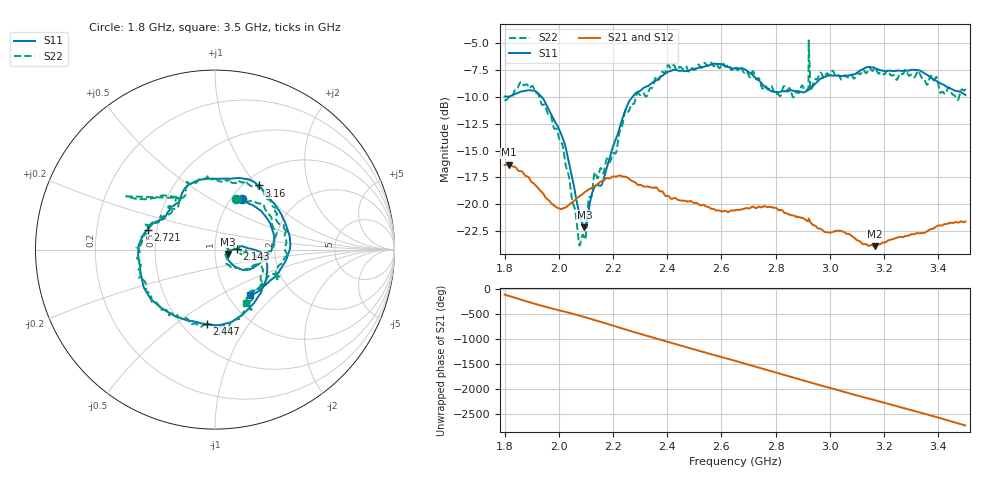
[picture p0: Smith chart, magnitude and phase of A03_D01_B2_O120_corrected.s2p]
! Created with skrf 1.9.0 (http://scikit-rf.org).
# Hz S RI R 50.0
!freq ReS11 ImS11 ReS21 ImS21 ReS12 ImS12 ReS22 ImS22
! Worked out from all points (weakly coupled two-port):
!   1601 points, 1.8 GHz to 3.5 GHz, reference 50 ohm
!   highest |S21| = -16.31 dB at 1.816 GHz (marker M1); lowest = -23.9 dB at 3.165 GHz (marker M2)
!   lowest |S11| = -22.1 dB at 2.094 GHz (marker M3), VSWR 1.17, Z = 57.9 - j2.88 ohm
!   |S11| at or under -10 dB: 1.936 GHz to 2.272 GHz (335.9 MHz wide, 16 % of centre)
!   |S22| runs from -23.8 to -4.8 dB; largest |S21 - S12| = 0.0032
!   S11 on the Smith chart (normalised r, x): 1.8 GHz: 1.12, +0.70; 2.143 GHz: 1.28, +0.01; 2.447 GHz: 0.65, -0.65; 2.721 GHz: 0.44, +0.12; 3.16 GHz: 1.16, +1.02; 3.5 GHz: 1.26, -0.72
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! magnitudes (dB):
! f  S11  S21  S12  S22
! 1.8 GHz  -10.0  -16.3  -16.4  -10.3
! 1.816 GHz  -10.0  -16.3  -16.3  -10.0
! 1.902 GHz  -9.4  -18.0  -17.9  -9.0
! 1.968 GHz  -11.4  -19.8  -19.8  -11.6
! 2.022 GHz  -14.4  -20.3  -20.3  -15.8
! 2.073 GHz  -20.6  -19.3  -19.3  -23.4
! 2.084 GHz  -21.6  -19.1  -19.1  -23.1
! 2.094 GHz  -22.1  -18.9  -18.9  -23.2
! 2.128 GHz  -18.6  -18.4  -18.4  -17.6
! 2.143 GHz  -18.2  -18.1  -18.1  -17.6
! 2.208 GHz  -14.1  -17.4  -17.4  -15.3
! 2.26 GHz  -10.4  -17.6  -17.7  -11.3
! 2.367 GHz  -8.3  -18.7  -18.6  -8.4
! 2.447 GHz  -7.6  -19.6  -19.6  -7.2
! 2.65 GHz  -7.4  -20.6  -20.5  -7.2
! 2.721 GHz  -8.1  -20.3  -20.2  -7.9
! 2.81 GHz  -9.6  -20.5  -20.5  -9.8
! 2.934 GHz  -9.1  -21.8  -21.8  -9.2
! 3.16 GHz  -7.3  -23.9  -23.8  -7.5
! 3.165 GHz  -7.3  -23.9  -23.9  -7.3
! 3.217 GHz  -7.6  -23.3  -23.3  -7.7
! 3.5 GHz  -9.8  -21.6  -21.6  -9.3
